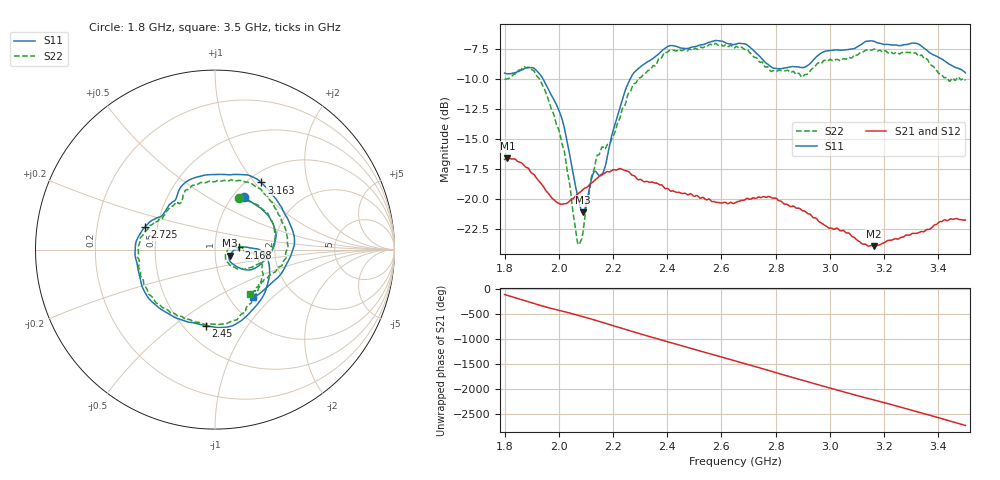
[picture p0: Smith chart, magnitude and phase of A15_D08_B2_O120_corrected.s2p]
! Created with skrf 1.9.0 (http://scikit-rf.org).
# Hz S RI R 50.0
!freq ReS11 ImS11 ReS21 ImS21 ReS12 ImS12 ReS22 ImS22
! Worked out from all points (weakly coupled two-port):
!   1601 points, 1.8 GHz to 3.5 GHz, reference 50 ohm
!   highest |S21| = -16.62 dB at 1.811 GHz (marker M1); lowest = -23.9 dB at 3.162 GHz (marker M2)
!   lowest |S11| = -21.1 dB at 2.09 GHz (marker M3), VSWR 1.19, Z = 58.8 - j3.9 ohm
!   |S11| at or under -10 dB: 1.942 GHz to 2.263 GHz (320.6 MHz wide, 15.2 % of centre)
!   |S22| runs from -23.8 to -7.0 dB; largest |S21 - S12| = 0.003
!   S11 on the Smith chart (normalised r, x): 1.8 GHz: 1.12, +0.74; 2.168 GHz: 1.30, +0.03; 2.45 GHz: 0.64, -0.66; 2.725 GHz: 0.43, +0.13; 3.163 GHz: 1.15, +1.08; 3.5 GHz: 1.28, -0.76
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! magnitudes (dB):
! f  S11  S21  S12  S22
! 1.8 GHz  -9.5  -16.7  -16.7  -10.0
! 1.811 GHz  -9.6  -16.6  -16.6  -10.0
! 1.886 GHz  -9.0  -17.4  -17.5  -9.0
! 1.941 GHz  -10.0  -18.9  -18.9  -10.6
! 2.011 GHz  -13.3  -20.4  -20.4  -15.4
! 2.067 GHz  -19.5  -19.6  -19.6  -23.4
! 2.084 GHz  -21.0  -19.3  -19.3  -23.3
! 2.09 GHz  -21.1  -19.2  -19.2  -22.6
! 2.131 GHz  -17.7  -18.5  -18.5  -17.4
! 2.168 GHz  -17.5  -17.9  -17.9  -15.8
! 2.26 GHz  -10.1  -17.8  -17.8  -11.1
! 2.367 GHz  -7.9  -18.7  -18.7  -8.3
! 2.45 GHz  -7.4  -19.5  -19.5  -7.6
! 2.65 GHz  -7.1  -20.3  -20.3  -7.4
! 2.725 GHz  -7.8  -19.9  -19.9  -8.2
! 2.799 GHz  -9.1  -19.9  -19.9  -9.4
! 2.934 GHz  -8.5  -21.4  -21.4  -9.1
! 3.162 GHz  -6.8  -23.9  -23.9  -7.5
! 3.163 GHz  -6.8  -23.9  -23.9  -7.5
! 3.217 GHz  -7.1  -23.4  -23.4  -7.8
! 3.324 GHz  -7.0  -22.8  -22.8  -8.0
! 3.5 GHz  -9.5  -21.8  -21.7  -10.1
